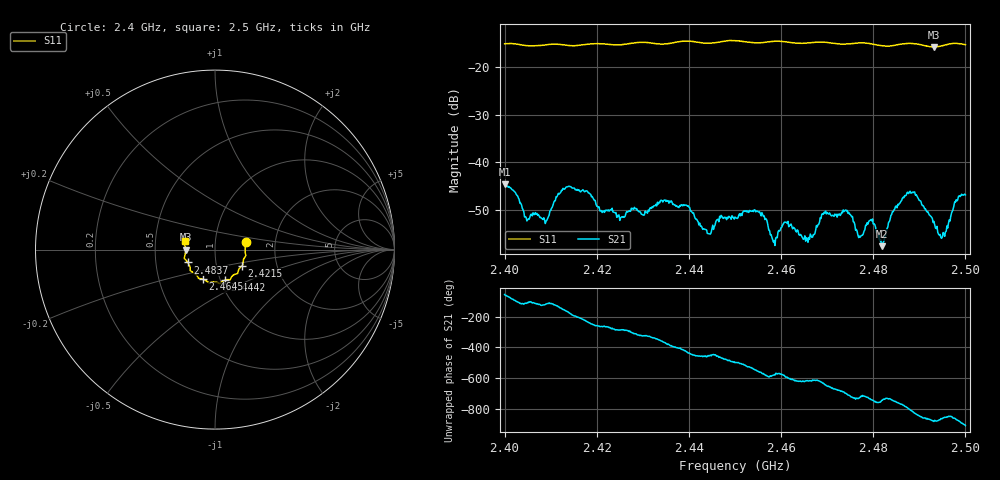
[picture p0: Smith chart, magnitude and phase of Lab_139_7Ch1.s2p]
# Hz S RI R 50
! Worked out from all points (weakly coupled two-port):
!   601 points, 2.4 GHz to 2.5 GHz, reference 50 ohm
!   highest |S21| = -44.64 dB at 2.4 GHz (marker M1); lowest = -57.6 dB at 2.4818 GHz (marker M2)
!   lowest |S11| = -15.7 dB at 2.4932 GHz (marker M3), VSWR 1.39, Z = 35.9 - j0.0644 ohm
!   |S11| at or under -10 dB: start of sweep to end of sweep
!   S12 and S22 are empty: the file has one direction only
!   S11 on the Smith chart (normalised r, x): 2.4 GHz: 1.41, +0.12; 2.4215 GHz: 1.33, -0.25; 2.4442 GHz: 1.05, -0.37; 2.4645 GHz: 0.83, -0.29; 2.4837 GHz: 0.73, -0.11; 2.5 GHz: 0.71, +0.07
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2.4e9  0.1714 0.0404  0.00313 -0.00495  0 0  0 0
2.404833e9  0.1684 0.0112  -0.000961 -0.00222  0 0  0 0
2.408667e9  0.1694 -0.0241  -0.0014 -0.00206  0 0  0 0
2.412833e9  0.1669 -0.0417  -0.00478 -0.0022  0 0  0 0
2.416667e9  0.1566 -0.0699  -0.00421 0.00273  0 0  0 0
2.4215e9  0.1513 -0.0897  -0.000406 0.00306  0 0  0 0
2.433333e9  0.1083 -0.1384  0.00356 0.00072  0 0  0 0
2.439667e9  0.0837 -0.1684  0.00115 -0.00327  0 0  0 0
2.444167e9  0.0567 -0.1695  -5.73e-05 -0.00178  0 0  0 0
2.45e9  0.025 -0.1892  -0.00198 -0.00177  0 0  0 0
2.454667e9  -0.00492 -0.1804  -0.00304 0.000449  0 0  0 0
2.4645e9  -0.0658 -0.1659  -0.000256 0.00164  0 0  0 0
2.466667e9  -0.0826 -0.1622  -0.000369 0.00158  0 0  0 0
2.469333e9  -0.0922 -0.1585  0.00031 0.00296  0 0  0 0
2.473833e9  -0.1133 -0.1333  0.00279 0.00133  0 0  0 0
2.481833e9  -0.1415 -0.0914  0.00121 -0.000498  0 0  0 0
2.483333e9  -0.1488 -0.0752  0.00228 -0.000543  0 0  0 0
2.483667e9  -0.1511 -0.0718  0.00246 -0.000545  0 0  0 0
2.4885e9  -0.1712 -0.0467  -0.000321 -0.00484  0 0  0 0
2.493167e9  -0.1635 -0.000872  -0.00223 -0.000875  0 0  0 0
2.495167e9  -0.1676 0.0226  -0.0013 -0.00128  0 0  0 0
2.5e9  -0.1651 0.0503  -0.00452 0.000344  0 0  0 0
